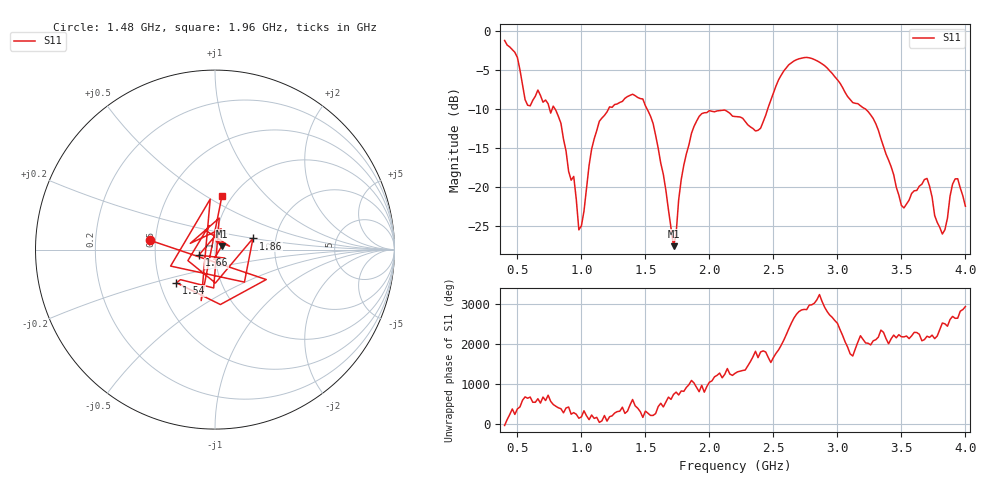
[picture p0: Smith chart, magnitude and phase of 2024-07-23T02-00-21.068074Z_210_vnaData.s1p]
!Created with skrf (http://scikit-rf.org).
# Hz S RI R 50.0
!freq ReS11 ImS11
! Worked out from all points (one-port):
!   181 points, 400 MHz to 4 GHz, reference 50 ohm
!   lowest |S11| = -27.6 dB at 1.72 GHz (marker M1), VSWR 1.09, Z = 53.8 + j2.08 ohm
!   |S11| at or under -10 dB: 793.2 MHz to 1.212 GHz (419.2 MHz wide, 41.8 % of centre); 1.512 GHz to 2.456 GHz (943.7 MHz wide, 47.6 % of centre); 3.217 GHz to end of sweep (the widest 3 of 4)
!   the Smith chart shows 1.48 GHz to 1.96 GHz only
!   S11 on the Smith chart (normalised r, x): 1.48 GHz: 0.47, +0.06; 1.54 GHz: 0.61, -0.24; 1.66 GHz: 0.83, -0.05; 1.86 GHz: 1.52, +0.20; 1.96 GHz: 0.90, +0.58
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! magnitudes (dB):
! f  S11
! 400 MHz  -1.3
! 500 MHz  -3.4
! 580 MHz  -9.5
! 660 MHz  -7.6
! 860 MHz  -13.9
! 940 MHz  -18.6
! 980 MHz  -25.5
! 1.14 GHz  -11.6
! 1.3 GHz  -9.2
! 1.48 GHz  -8.7
! 1.54 GHz  -10.9
! 1.66 GHz  -20.4
! 1.72 GHz  -27.6
! 1.76 GHz  -21.6
! 1.86 GHz  -13.1
! 1.96 GHz  -10.5
! 2.2 GHz  -11.0
! 2.4 GHz  -12.5
! 2.66 GHz  -3.9
! 2.88 GHz  -4.3
! 3.1 GHz  -8.8
! 3.28 GHz  -11.2
! 3.5 GHz  -22.3
! 3.56 GHz  -21.7
! 3.7 GHz  -18.9
! 3.82 GHz  -26.0
! 3.92 GHz  -19.0
! 4 GHz  -22.4
